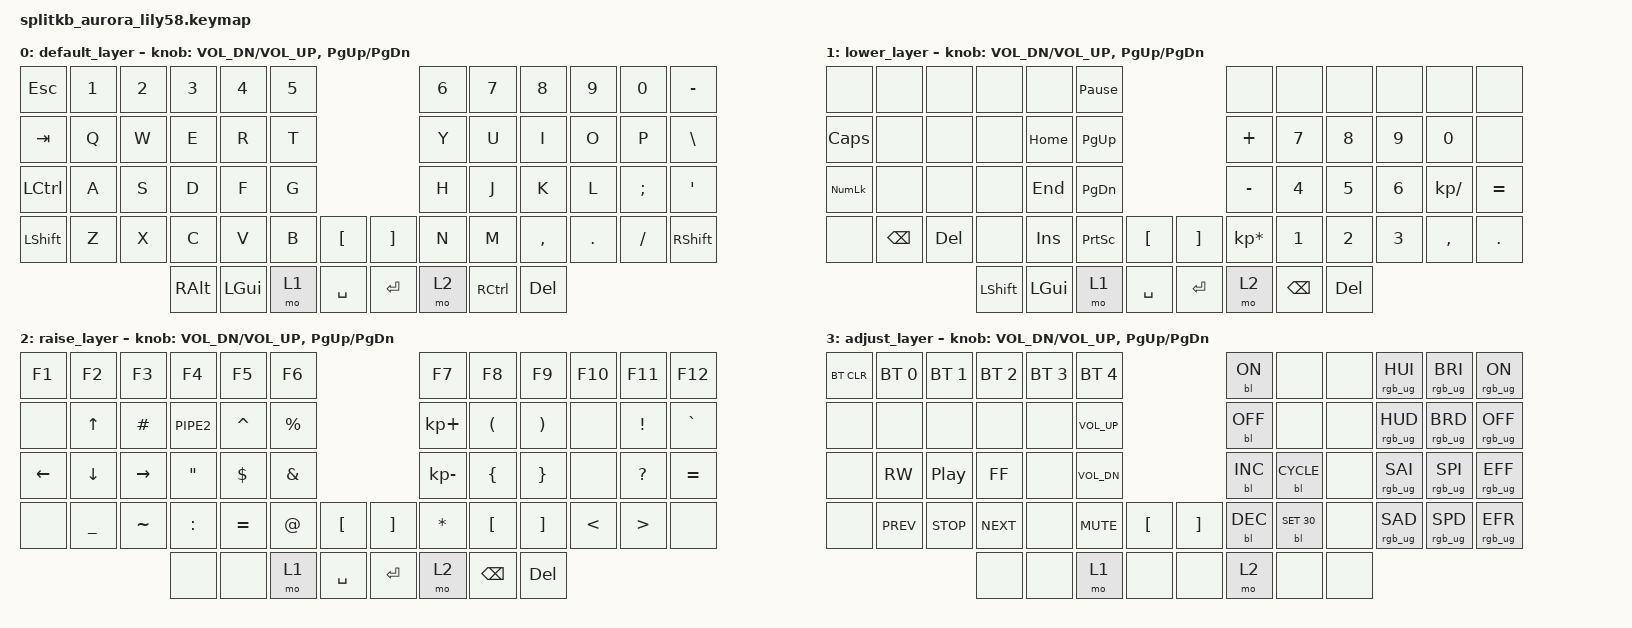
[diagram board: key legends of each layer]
/*
 * Copyright (c) 2022 The ZMK Contributors
 *
 * SPDX-License-Identifier: MIT
 */

#include <behaviors.dtsi>
#include <dt-bindings/zmk/backlight.h>
#include <dt-bindings/zmk/keys.h>
#include <dt-bindings/zmk/bt.h>
#include <dt-bindings/zmk/ext_power.h>
#include <dt-bindings/zmk/outputs.h>
#include <dt-bindings/zmk/rgb.h>

/ {

    conditional_layers {
        compatible = "zmk,conditional-layers";

        adjust_layer {
            if-layers = <1 2>;
            then-layer = <3>;
        };
    };

    keymap {
        compatible = "zmk,keymap";

        default_layer {
  // ,-----------------------------------------.                    ,-----------------------------------------.
  // |      |      |      |      |      |      |                    |      |      |      |      |      |      |
  // |  ESC |   1  |   2  |   3  |   4  |   5  |                    |   6  |   7  |   8  |   9  |   0  | - _  |
  // |------+------+------+------+------+------|                    |------+------+------+------+------+------|
  // |      |      |      |      |      |      |                    |      |      |      |      |      |      |
  // |  TAB |   Q  |   W  |   E  |   R  |   T  |                    |   Y  |   U  |   I  |   O  |   P  | \ |  |
  // |------+------+------+------+------+------|                    |------+------+------+------+------+------|
  // |      |      |      |      |      |      |                    |      |      |      |      |      |      |
  // |LCTRL |   A  |   S  |   D  |   F  |   G  |-------.    ,-------|   H  |   J  |   K  |   L  | ; :  | ' "  |
  // |------+------+------+------+------+------|       |    |       |------+------+------+------+------+------|
  // |      |      |      |      |      |      | [Enc1]|    |[Enc2] |      |      |      |      |      |      |
  // |LSHIFT|   Z  |   X  |   C  |   V  |   B  |-------|    |-------|   N  |   M  | , <  | .  > | / ?  |RSHIFT|
  // `-----------------------------------------/       /     \      \-----------------------------------------'
  //                   |      |      |      | /       /       \      \  |      |      |      |
  //                   | RALT |  GUI | LOWER|/ SPACE /         \ ENTER\ | RAISE| RCTRL|  DEL |
  //                   `----------------------------'           '------''--------------------'

            bindings = <
&kp ESC   &kp N1 &kp N2 &kp N3   &kp N4   &kp N5                     &kp N6 &kp N7   &kp N8    &kp N9  &kp N0   &kp MINUS
&kp TAB   &kp Q  &kp W  &kp E    &kp R    &kp T                      &kp Y  &kp U    &kp I     &kp O   &kp P    &kp BSLH
&kp LCTRL &kp A  &kp S  &kp D    &kp F    &kp G                      &kp H  &kp J    &kp K     &kp L   &kp SEMI &kp APOS
&kp LSHFT &kp Z  &kp X  &kp C    &kp V    &kp B  &kp LBKT   &kp RBKT &kp N  &kp M    &kp COMMA &kp DOT &kp FSLH &kp RSHFT
                        &kp RALT &kp LGUI &mo 1 &kp SPACE  &kp RET  &mo 2 &kp RCTRL &kp DEL
            >;

            sensor-bindings = <&inc_dec_kp C_VOL_DN C_VOL_UP>,<&inc_dec_kp PG_UP PG_DN>;
        };

        lower_layer {
// ,-----------------------------------------.                    ,-----------------------------------------.º
// |      |      |      |      |      |      |                    |      |      |      |      |      |      |
// |      |      |      |      |      | PAUSE|                    |      |      |      |      |      |      |
// |------+------+------+------+------+------|                    |------+------+------+------+------+------|
// |      |      |      |      |      |      |                    |      |      |      |      |      |      |
// | CAPS |      |      |      | HOME | PG_UP|                    |   +  |   7  |   8  |   9  |   0  |      |
// |------+------+------+------+------+------|                    |------+------+------+------+------+------|
// |      |      |      |      |      |      |                    |      |      |      |      |      |      |
// |  NUM |      |      |      |  END | PG_DN|-------.    ,-------|   -  |   4  |   5  |   6  |   /  |   =  |
// |------+------+------+------+------+------| [Enc1]|    |[Enc2] |------+------+------+------+------+------|
// |      |      |      |      |      |      |       |    |       |      |      |      |      |      |      |
// |      | BSPC |  DEL |      |INSERT| PSCRN|-------|    |-------|   *  |   1  |   2  |   3  |   ,  |   .  |
// `-----------------------------------------/       /     \      \-----------------------------------------'
//                   |      |      |      | /       /       \      \  |      |      |      |
//                   | SHIFT|  GUI | LOWER|/ SPACE /         \ ENTER\ | RAISE| BSPC |  DEL |
//                   `----------------------------'           '------''--------------------'

            bindings = <
&none &none     &none      &none      &none &kp PAUSE_BREAK                 &none    &none    &none          &none    &none    &none
&kp CAPS     &none           &none            &none            &kp HOME       &kp PG_UP                       &kp PLUS    &kp N7    &kp N8  &kp N9   &kp N0   &none
&kp KP_NUM  &none         &none            &none          &kp END   &kp PG_DN                    &kp MINUS &kp N4  &kp N5    &kp N6  &kp KP_SLASH  &kp EQUAL
&none   &kp BSPC &kp DEL &none      &kp INS    &kp PSCRN   &kp LBKT    &kp RBKT    &kp KP_ASTERISK &kp N1  &kp N2  &kp N3  &kp COMMA  &kp DOT
                                              &kp LSHFT            &kp LGUI   &mo 1  &kp SPACE   &kp RET &mo 2  &kp BSPC  &kp DEL
            >;

            sensor-bindings = <&inc_dec_kp C_VOL_DN C_VOL_UP>,<&inc_dec_kp PG_UP PG_DN>;
        };

        raise_layer {
// RAISE (derecho)
// ,-----------------------------------------.                    ,-----------------------------------------.
// |      |      |      |      |      |      |                    |      |      |      |      |      |      |
// |  F1  |  F2  |  F3  |  F4  |  F5  |  F6  |                    |  F7  |  F8  |  F9  |  F10 |  F11 |  F12 |
// |------+------+------+------+------+------|                    |------+------+------+------+------+------|
// |      |      |      |      |      |      |                    |      |      |      |      |      |      |
// |      |   ^  |   #  |   |  |   ^  |   %  |                    |   +  |  (   |   )  |      |   !  |   `  |
// |------+------+------+------+------+------|                    |------+------+------+------+------+------|
// |      |      |      |      |      |      |                    |      |      |      |      |      |      |
// |  <-  |   v  |  ->  |   "  |   $  |   &  |-------.    ,-------|   -  |  {   |   }  |      |   ?  |   =  |
// |------+------+------+------+------+------| [Enc1]|    |[Enc2] |------+------+------+------+------+------|
// |      |      |      |      |      |      |       |    |       |      |      |      |      |      |      |
// |      |   _  |   ~  |   :  |   =  |   @  |-------|    |-------|   *  |  [   |   ]  |   <  |   >  |      |
// `-----------------------------------------/       /     \      \-----------------------------------------'
//                   |      |      |      | /       /       \      \  |      |      |      |
//                   |      |      | LOWER|/ SPACE /         \ ENTER\ | RAISE| BSPC |  DEL |
//                   `----------------------------'           '------''--------------------'

            bindings = <
&kp F1    &kp F2 &kp F3 &kp F4  &kp F5  &kp F6                       &kp F7    &kp F8 &kp F9 &kp F10 &kp F11 &kp F12
&none &kp UP &kp HASH &kp PIPE2  &kp CARET  &kp PERCENT              &kp KP_PLUS      &kp LPAR    &kp RPAR    &none   &kp EXCL    &kp GRAVE
&kp LEFT    &kp DOWN &kp RIGHT &kp DQT  &kp DLLR  &kp AMPS           &kp KP_MINUS      &kp LBRC  &kp RBRC  &none   &kp QMARK &kp EQUAL
&none    &kp UNDER &kp TILDE &kp COLON &kp EQUAL &kp AT   &kp LBKT    &kp RBKT    &kp ASTERISK &kp LBKT &kp RBKT &kp LT &kp GT  &none
                        &none  &none  &mo 1  &kp SPACE   &kp RET    &mo 2    &kp BSPC  &kp DEL
            >;

            sensor-bindings = <&inc_dec_kp C_VOL_DN C_VOL_UP>,<&inc_dec_kp PG_UP PG_DN>;
        };
adjust_layer {
// ADJUST
// ,-----------------------------------------.                    ,-----------------------------------------.
// |      |      |      |      |      |      |                    |      |      |      |      |      |      |
// | BTCLR|  BT1 |  BT2 |  BT3 |  BT4 |  BT5 |                    | BL_On|      |      | RHUI | RBRI |RGB On|
// |------+------+------+------+------+------|                    |------+------+------+------+------+------|
// |      |      |      |      |      |      |                    |      |      |      |      |      |      |
// |      |      |      |      |      |VOL_UP|                    |BL_Off|      |      | RHUD | RBRD |RGBOff|
// |------+------+------+------+------+------|                    |------+------+------+------+------+------|
// |      |      |      |      |      |      |                    |      |      |      |      |      |      |
// |      | C_RW | C_PP |  FF  |      |VOL_DN|-------.    ,-------|BL_Inc|BL_Cyc|      | RSAI | RSPI | REFF |
// |------+------+------+------+------+------| [     |    |    ]  |------+------+------+------+------+------|
// |      |      |      |      |      |      |       |    |       |      |      |      |      |      |      |
// |      | PREV | STOP | NEXT |      | MUTE |-------|    |-------|BL_Dec|BL_Set|      | RSAD | RSPD | REFR |
// `-----------------------------------------/       /     \      \-----------------------------------------'
//                   |      |      |      | /       /       \      \  |      |      |      |
//                   |      |      | LOWER|/       /         \      \ | RAISE|      |      |
//                   `----------------------------'           '------''--------------------'

            bindings = <
&bt BT_CLR  &bt BT_SEL 0  &bt BT_SEL 1  &bt BT_SEL 2  &bt BT_SEL 3  &bt BT_SEL 4                    &bl BL_ON   &none     &none     &rgb_ug RGB_HUI  &rgb_ug RGB_BRI  &rgb_ug RGB_ON
&none       &none         &none         &none         &none         &kp C_VOL_UP                           &bl BL_OFF  &none   &none    &rgb_ug RGB_HUD  &rgb_ug RGB_BRD  &rgb_ug RGB_OFF 
&none       &kp C_RW  &kp C_PP         &kp C_FF         &none         &kp C_VOL_DN                           &bl BL_INC  &bl BL_CYCLE  &none    &rgb_ug RGB_SAI  &rgb_ug RGB_SPI  &rgb_ug RGB_EFF 
&none       &kp C_PREV  &kp C_STOP         &kp C_NEXT   &none     &kp C_MUTE         &kp LBKT    &kp RBKT    &bl BL_DEC  &bl BL_SET 30  &none   &rgb_ug RGB_SAD  &rgb_ug RGB_SPD  &rgb_ug RGB_EFR 
                                        &none        &none        &mo 1      &none    &none  &mo 2    &none         &none
            >;

            sensor-bindings =
                <&inc_dec_kp C_VOL_DN C_VOL_UP>,
                <&inc_dec_kp PG_UP PG_DN>;
        };

    };
};
